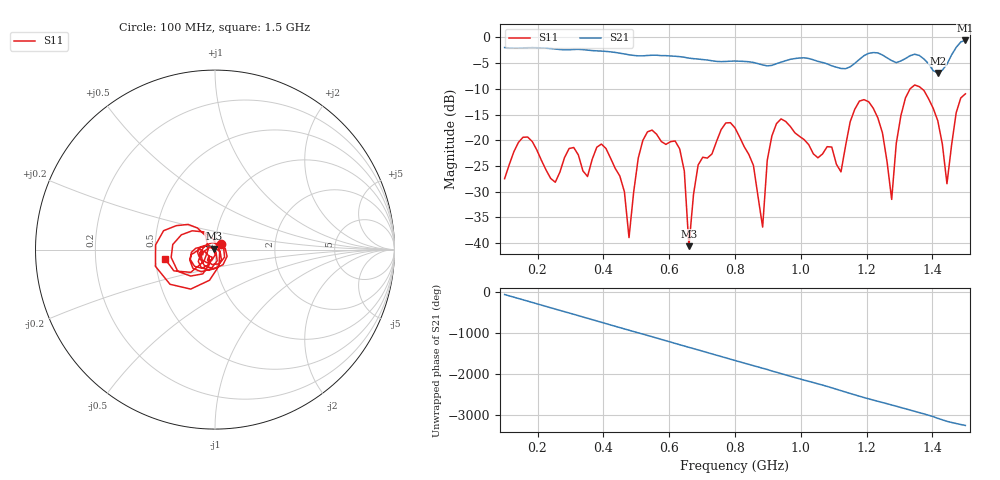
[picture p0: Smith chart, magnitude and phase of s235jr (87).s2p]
! NanoVNA-App
! Date: 2025-09-25 15:04:50
! Start: 100MHz Stop: 1,5GHz Points: 101
! S-Parameter data: F S11 S21 S12 S22
# Hz S RI R 50
!  Frequency  S11_Real  S11_Imag  S21_Real  S21_Imag  S12_Real  S12_Imag  S22_Real  S22_Imag
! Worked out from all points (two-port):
!   101 points, 100 MHz to 1.5 GHz, reference 50 ohm
!   highest |S21| = -0.59 dB at 1.5 GHz (marker M1); lowest = -6.9 dB at 1.416 GHz (marker M2)
!   |S21| within 3 dB of the highest: start of sweep to 599.5 MHz; 1.191 GHz to 1.252 GHz (61.16 MHz wide, 5.01 % of centre) (the widest 2 of 4)
!   lowest |S11| = -40.6 dB at 660 MHz (marker M3), VSWR 1.02, Z = 49.3 + j0.555 ohm
!   |S11| at or under -10 dB: start of sweep to 1.332 GHz; 1.368 GHz to end of sweep
!   S12 and S22 are empty: the file has one direction only
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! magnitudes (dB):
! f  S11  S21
! 100 MHz  -27.5  -2.0
! 156 MHz  -19.4  -2.0
! 338 MHz  -26.0  -2.4
! 408 MHz  -21.6  -2.7
! 478 MHz  -38.9  -3.4
! 520 MHz  -20.0  -3.6
! 576 MHz  -20.2  -3.5
! 632 MHz  -21.7  -3.7
! 660 MHz  -40.6  -4.0
! 688 MHz  -24.8  -4.2
! 800 MHz  -17.6  -4.6
! 884 MHz  -36.9  -5.4
! 898 MHz  -23.9  -5.5
! 926 MHz  -16.8  -5.1
! 1.038 GHz  -22.6  -4.4
! 1.122 GHz  -26.2  -6.0
! 1.206 GHz  -12.5  -3.1
! 1.276 GHz  -31.5  -4.5
! 1.332 GHz  -10.0  -3.6
! 1.416 GHz  -16.2  -6.9
! 1.444 GHz  -28.5  -5.2
! 1.5 GHz  -11.0  -0.6
